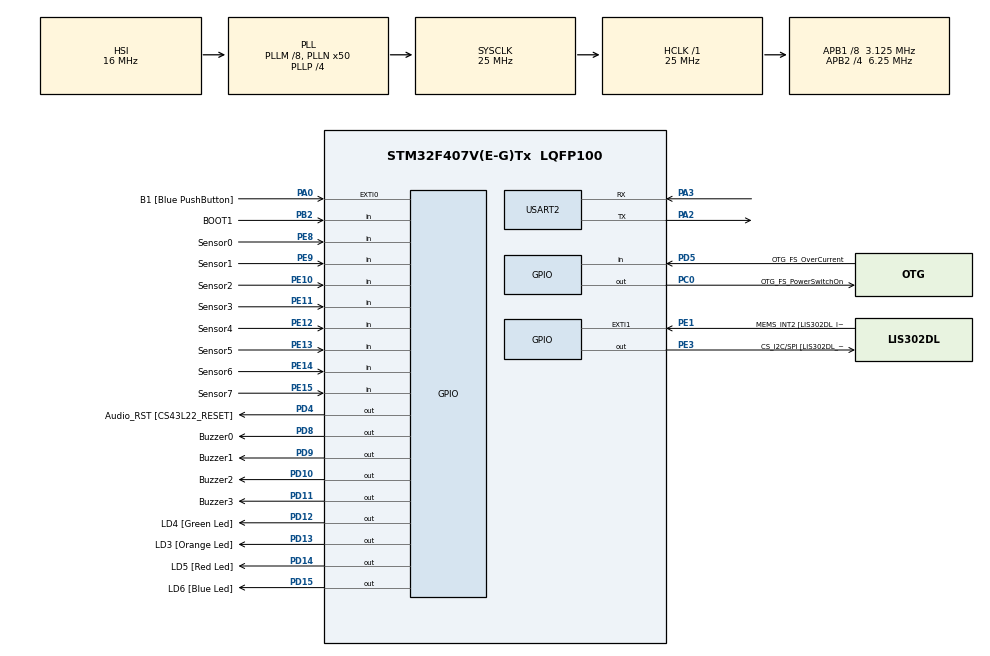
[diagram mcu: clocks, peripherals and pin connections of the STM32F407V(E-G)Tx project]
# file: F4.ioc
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Dma.Request0=USART2_RX
Dma.USART2_RX.0.Direction=DMA_PERIPH_TO_MEMORY
Dma.USART2_RX.0.FIFOMode=DMA_FIFOMODE_DISABLE
Dma.USART2_RX.0.Instance=DMA1_Stream5
Dma.USART2_RX.0.MemDataAlignment=DMA_MDATAALIGN_BYTE
Dma.USART2_RX.0.MemInc=DMA_MINC_ENABLE
Dma.USART2_RX.0.Mode=DMA_CIRCULAR
Dma.USART2_RX.0.PeriphDataAlignment=DMA_PDATAALIGN_BYTE
Dma.USART2_RX.0.PeriphInc=DMA_PINC_DISABLE
Dma.USART2_RX.0.Priority=DMA_PRIORITY_LOW
FREERTOS.Tasks01=revicer,0,128,uartReciveTask,Default,NULL,Dynamic,NULL,NULL
FREERTOS.Timers01=uartSender,senderCallback,osTimerPeriodic,Default,NULL,Dynamic,NULL;buzzerCtrl,buzzerController,osTimerPeriodic,Default,NULL,Dynamic,NULL;refresher,refreshSensor,osTimerPeriodic,Default,NULL,Dynamic,NULL
FREERTOS.configUSE_TIMERS=1
Mcu.Family=STM32F4
Mcu.Name=STM32F407V(E-G)Tx
Mcu.Package=LQFP100
NVIC.DMA1_Stream5_IRQn=true\:5\:0\:false\:false\:true\:true\:false
NVIC.PriorityGroup=NVIC_PRIORITYGROUP_4
NVIC.TIM1_UP_TIM10_IRQn=true\:0\:0\:false\:false\:true\:false\:false
NVIC.TimeBase=TIM1_UP_TIM10_IRQn
NVIC.TimeBaseIP=TIM1
PA0-WKUP.GPIO_Label=B1 [Blue PushButton]
PA0-WKUP.GPIO_ModeDefaultEXTI=GPIO_MODE_EVT_RISING
PA0-WKUP.GPIO_PuPd=GPIO_NOPULL
PA0-WKUP.Signal=GPXTI0
PA10.GPIO_Label=OTG_FS_ID
PA10.GPIO_Mode=GPIO_MODE_AF_PP
PA10.GPIO_PuPd=GPIO_NOPULL
PA10.GPIO_Speed=GPIO_SPEED_FREQ_LOW
PA10.Signal=USB_OTG_FS_ID
PA11.GPIO_Label=OTG_FS_DM
PA11.GPIO_Mode=GPIO_MODE_AF_PP
PA11.GPIO_PuPd=GPIO_NOPULL
PA11.GPIO_Speed=GPIO_SPEED_FREQ_LOW
PA11.Signal=USB_OTG_FS_DM
PA12.GPIO_Label=OTG_FS_DP
PA12.GPIO_Mode=GPIO_MODE_AF_PP
PA12.GPIO_PuPd=GPIO_NOPULL
PA12.GPIO_Speed=GPIO_SPEED_FREQ_LOW
PA12.Signal=USB_OTG_FS_DP
PA13.GPIO_Label=SWDIO
PA13.Signal=SYS_JTMS-SWDIO
PA14.GPIO_Label=SWCLK
PA14.Signal=SYS_JTCK-SWCLK
PA2.Mode=Asynchronous
PA2.Signal=USART2_TX
PA3.Mode=Asynchronous
PA3.Signal=USART2_RX
PA4.GPIO_Label=I2S3_WS [CS43L22_LRCK]
PA4.GPIO_Mode=GPIO_MODE_AF_PP
PA4.GPIO_PuPd=GPIO_NOPULL
PA4.GPIO_Speed=GPIO_SPEED_FREQ_LOW
PA4.Signal=I2S3_WS
PA5.GPIO_Label=SPI1_SCK [LIS302DL_SCL/SPC]
PA5.GPIO_Mode=GPIO_MODE_AF_PP
PA5.GPIO_PuPd=GPIO_NOPULL
PA5.GPIO_Speed=GPIO_SPEED_FREQ_LOW
PA5.Signal=SPI1_SCK
PA6.GPIO_Label=SPI1_MISO [LIS302DL_SDO]
PA6.GPIO_Mode=GPIO_MODE_AF_PP
PA6.GPIO_PuPd=GPIO_NOPULL
PA6.GPIO_Speed=GPIO_SPEED_FREQ_LOW
PA6.Signal=SPI1_MISO
PA7.GPIO_Label=SPI1_MOSI [LIS302DL_SDA/SDI/SDO]
PA7.GPIO_Mode=GPIO_MODE_AF_PP
PA7.GPIO_PuPd=GPIO_NOPULL
PA7.GPIO_Speed=GPIO_SPEED_FREQ_LOW
PA7.Signal=SPI1_MOSI
PA9.GPIO_Label=VBUS_FS
PA9.GPIO_Mode=GPIO_MODE_INPUT
PA9.GPIO_PuPd=GPIO_NOPULL
PA9.Signal=USB_OTG_FS_VBUS
PB10.GPIO_Label=CLK_IN [MP45DT02_CLK]
PB10.GPIO_Mode=GPIO_MODE_AF_PP
PB10.GPIO_PuPd=GPIO_NOPULL
PB10.GPIO_Speed=GPIO_SPEED_FREQ_LOW
PB10.Signal=I2S2_CK
PB2.GPIO_Label=BOOT1
PB2.GPIO_Mode=GPIO_MODE_INPUT
PB2.GPIO_PuPd=GPIO_NOPULL
PB2.Signal=GPIO_Input
PB3.GPIO_Label=SWO
PB3.Signal=SYS_JTDO-SWO
PB6.GPIO_Label=Audio_SCL [CS43L22_SCL]
PB6.GPIO_Mode=GPIO_MODE_AF_OD
PB6.GPIO_PuPd=GPIO_NOPULL
PB6.GPIO_Speed=GPIO_SPEED_FREQ_LOW
PB6.Signal=I2C1_SCL
PB9.GPIO_Label=Audio_SDA [CS43L22_SDA]
PB9.GPIO_Mode=GPIO_MODE_AF_OD
PB9.GPIO_PuPd=GPIO_NOPULL
PB9.GPIO_Speed=GPIO_SPEED_FREQ_LOW
PB9.Signal=I2C1_SDA
PC0.GPIO_Label=OTG_FS_PowerSwitchOn
PC0.GPIO_PuPd=GPIO_NOPULL
PC0.GPIO_Speed=GPIO_SPEED_FREQ_LOW
PC0.PinState=GPIO_PIN_SET
PC0.Signal=GPIO_Output
PC10.GPIO_Label=I2S3_SCK [CS43L22_SCLK]
PC10.GPIO_Mode=GPIO_MODE_AF_PP
PC10.GPIO_PuPd=GPIO_NOPULL
PC10.GPIO_Speed=GPIO_SPEED_FREQ_LOW
PC10.Signal=I2S3_CK
PC12.GPIO_Label=I2S3_SD [CS43L22_SDIN]
PC12.GPIO_Mode=GPIO_MODE_AF_PP
PC12.GPIO_PuPd=GPIO_NOPULL
PC12.GPIO_Speed=GPIO_SPEED_FREQ_LOW
PC12.Signal=I2S3_SD
PC14-OSC32_IN.GPIO_Label=PC14-OSC32_IN
PC14-OSC32_IN.Signal=RCC_OSC32_IN
PC15-OSC32_OUT.GPIO_Label=PC15-OSC32_OUT
PC15-OSC32_OUT.Signal=RCC_OSC32_OUT
PC3.GPIO_Label=PDM_OUT [MP45DT02_DOUT]
PC3.GPIO_Mode=GPIO_MODE_AF_PP
PC3.GPIO_PuPd=GPIO_NOPULL
PC3.GPIO_Speed=GPIO_SPEED_FREQ_LOW
PC3.Signal=I2S2_SD
PC7.GPIO_Label=I2S3_MCK [CS43L22_MCLK]
PC7.GPIO_Mode=GPIO_MODE_AF_PP
PC7.GPIO_PuPd=GPIO_NOPULL
PC7.GPIO_Speed=GPIO_SPEED_FREQ_LOW
PC7.Signal=I2S3_MCK
PD10.GPIO_Label=Buzzer2
PD10.Signal=GPIO_Output
PD11.GPIO_Label=Buzzer3
PD11.Signal=GPIO_Output
PD12.GPIO_Label=LD4 [Green Led]
PD12.GPIO_PuPd=GPIO_NOPULL
PD12.GPIO_Speed=GPIO_SPEED_FREQ_LOW
PD12.Signal=GPIO_Output
PD13.GPIO_Label=LD3 [Orange Led]
PD13.GPIO_PuPd=GPIO_NOPULL
PD13.GPIO_Speed=GPIO_SPEED_FREQ_LOW
PD13.Signal=GPIO_Output
PD14.GPIO_Label=LD5 [Red Led]
PD14.GPIO_PuPd=GPIO_NOPULL
PD14.GPIO_Speed=GPIO_SPEED_FREQ_LOW
PD14.Signal=GPIO_Output
PD15.GPIO_Label=LD6 [Blue Led]
PD15.GPIO_PuPd=GPIO_NOPULL
PD15.GPIO_Speed=GPIO_SPEED_FREQ_LOW
PD15.Signal=GPIO_Output
PD4.GPIO_Label=Audio_RST [CS43L22_RESET]
PD4.GPIO_PuPd=GPIO_NOPULL
PD4.GPIO_Speed=GPIO_SPEED_FREQ_LOW
PD4.Signal=GPIO_Output
PD5.GPIO_Label=OTG_FS_OverCurrent
PD5.GPIO_Mode=GPIO_MODE_INPUT
PD5.GPIO_PuPd=GPIO_NOPULL
PD5.Signal=GPIO_Input
PD8.GPIO_Label=Buzzer0
PD8.Signal=GPIO_Output
PD9.GPIO_Label=Buzzer1
PD9.Signal=GPIO_Output
PE1.GPIO_Label=MEMS_INT2 [LIS302DL_INT2]
PE1.GPIO_ModeDefaultEXTI=GPIO_MODE_EVT_RISING
PE1.GPIO_PuPd=GPIO_NOPULL
PE1.Signal=GPXTI1
PE10.GPIO_Label=Sensor2
PE10.GPIO_PuPd=GPIO_PULLUP
PE10.Signal=GPIO_Input
PE11.GPIO_Label=Sensor3
PE11.GPIO_PuPd=GPIO_PULLUP
PE11.Signal=GPIO_Input
PE12.GPIO_Label=Sensor4
PE12.GPIO_PuPd=GPIO_PULLUP
PE12.Signal=GPIO_Input
PE13.GPIO_Label=Sensor5
PE13.GPIO_PuPd=GPIO_PULLUP
PE13.Signal=GPIO_Input
PE14.GPIO_Label=Sensor6
PE14.GPIO_PuPd=GPIO_PULLUP
PE14.Signal=GPIO_Input
PE15.GPIO_Label=Sensor7
PE15.GPIO_PuPd=GPIO_PULLUP
PE15.Signal=GPIO_Input
PE3.GPIO_Label=CS_I2C/SPI [LIS302DL_CS_I2C/SPI]
PE3.GPIO_PuPd=GPIO_NOPULL
PE3.GPIO_Speed=GPIO_SPEED_FREQ_LOW
PE3.Signal=GPIO_Output
PE8.GPIO_Label=Sensor0
PE8.GPIO_PuPd=GPIO_PULLUP
PE8.Signal=GPIO_Input
PE9.GPIO_Label=Sensor1
PE9.GPIO_PuPd=GPIO_PULLUP
PE9.Signal=GPIO_Input
PH0-OSC_IN.GPIO_Label=PH0-OSC_IN
PH0-OSC_IN.Signal=RCC_OSC_IN
PH1-OSC_OUT.GPIO_Label=PH1-OSC_OUT
PH1-OSC_OUT.Signal=RCC_OSC_OUT
ProjectManager.HeapSize=0x200
ProjectManager.StackSize=0x400
ProjectManager.TargetToolchain=SW4STM32
RCC.48MHZClocksFreq_Value=14285714.285714285
RCC.AHBFreq_Value=25000000
RCC.APB1CLKDivider=RCC_HCLK_DIV8
RCC.APB1Freq_Value=3125000
RCC.APB1TimFreq_Value=6250000
RCC.APB2CLKDivider=RCC_HCLK_DIV4
RCC.APB2Freq_Value=6250000
RCC.APB2TimFreq_Value=12500000
RCC.CortexFreq_Value=25000000
RCC.HCLKFreq_Value=25000000
RCC.HSE_VALUE=8000000
RCC.HSI_VALUE=16000000
RCC.LSE_VALUE=32768
RCC.PLLM=8
RCC.PLLN=50
RCC.PLLP=RCC_PLLP_DIV4
RCC.PLLQ=7
RCC.SYSCLKFreq_VALUE=25000000
RCC.SYSCLKSource=RCC_SYSCLKSOURCE_PLLCLK
RCC.VCOOutputFreq_Value=100000000
USART2.VirtualMode=VM_ASYNC
VP_FREERTOS_VS_ENABLE.Mode=Enabled
VP_SYS_VS_tim1.Mode=TIM1
board=STM32F4DISCOVERY

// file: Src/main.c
/**
  ******************************************************************************
  * @file           : main.c
  * @brief          : Main program body
  ******************************************************************************
  * This notice applies to any and all portions of this file
  * that are not between comment pairs USER CODE BEGIN and
  * USER CODE END. Other portions of this file, whether
  * inserted by the user or by software development tools
  * are owned by their respective copyright owners.
  *
  * Copyright (c) 2561 STMicroelectronics International N.V.
  * All rights reserved.
  *
  * Redistribution and use in source and binary forms, with or without
  * modification, are permitted, provided that the following conditions are met:
  *
  * 1. Redistribution of source code must retain the above copyright notice,
  *    this list of conditions and the following disclaimer.
  * 2. Redistributions in binary form must reproduce the above copyright notice,
  *    this list of conditions and the following disclaimer in the documentation
  *    and/or other materials provided with the distribution.
  * 3. Neither the name of STMicroelectronics nor the names of other
  *    contributors to this software may be used to endorse or promote products
  *    derived from this software without specific written permission.
  * 4. This software, including modifications and/or derivative works of this
  *    software, must execute solely and exclusively on microcontroller or
  *    microprocessor devices manufactured by or for STMicroelectronics.
  * 5. Redistribution and use of this software other than as permitted under
  *    this license is void and will automatically terminate your rights under
  *    this license.
  *
  * THIS SOFTWARE IS PROVIDED BY STMICROELECTRONICS AND CONTRIBUTORS "AS IS"
  * AND ANY EXPRESS, IMPLIED OR STATUTORY WARRANTIES, INCLUDING, BUT NOT
  * LIMITED TO, THE IMPLIED WARRANTIES OF MERCHANTABILITY, FITNESS FOR A
  * PARTICULAR PURPOSE AND NON-INFRINGEMENT OF THIRD PARTY INTELLECTUAL PROPERTY
  * RIGHTS ARE DISCLAIMED TO THE FULLEST EXTENT PERMITTED BY LAW. IN NO EVENT
  * SHALL STMICROELECTRONICS OR CONTRIBUTORS BE LIABLE FOR ANY DIRECT, INDIRECT,
  * INCIDENTAL, SPECIAL, EXEMPLARY, OR CONSEQUENTIAL DAMAGES (INCLUDING, BUT NOT
  * LIMITED TO, PROCUREMENT OF SUBSTITUTE GOODS OR SERVICES; LOSS OF USE, DATA,
  * OR PROFITS; OR BUSINESS INTERRUPTION) HOWEVER CAUSED AND ON ANY THEORY OF
  * LIABILITY, WHETHER IN CONTRACT, STRICT LIABILITY, OR TORT (INCLUDING
  * NEGLIGENCE OR OTHERWISE) ARISING IN ANY WAY OUT OF THE USE OF THIS SOFTWARE,
  * EVEN IF ADVISED OF THE POSSIBILITY OF SUCH DAMAGE.
  *
  ******************************************************************************
  */
#include "main.h"
#include "stm32f4xx_hal.h"
#include "cmsis_os.h"

UART_HandleTypeDef huart2;
DMA_HandleTypeDef hdma_usart2_rx;

osThreadId revicerHandle;
osTimerId uartSenderHandle;
osTimerId buzzerCtrlHandle;
osTimerId refresherHandle;

/* USER CODE BEGIN PV */
/* Private variables ---------------------------------------------------------*/

/* USER CODE END PV */

void SystemClock_Config(void);
static void MX_GPIO_Init(void);
static void MX_DMA_Init(void);
static void MX_USART2_UART_Init(void);
void uartReciveTask(void const * argument);
void senderCallback(void const * argument);
void buzzerController(void const * argument);
void refreshSensor(void const * argument);

/* USER CODE BEGIN PFP */
/* Private function prototypes -----------------------------------------------*/

/* USER CODE END PFP */

/* USER CODE BEGIN 0 */
const int UART_REFRESH_TIME = 750;

char inboundRecive[2];
uint8_t sensorStatus[8];
uint8_t sensorAlarm[8];
int sensornum = 7;
uint8_t tog = 0;
/* USER CODE END 0 */

int main(void)
{

  /* MCU Configuration----------------------------------------------------------*/

  /* Reset of all peripherals, Initializes the Flash interface and the Systick. */
  HAL_Init();

  /* Configure the system clock */
  SystemClock_Config();

  /* Initialize all configured peripherals */
  MX_GPIO_Init();
  MX_DMA_Init();
  MX_USART2_UART_Init();

  /* Create the timer(s) */
  /* definition and creation of uartSender */
  osTimerDef(uartSender, senderCallback);
  uartSenderHandle = osTimerCreate(osTimer(uartSender), osTimerPeriodic, NULL);

  /* definition and creation of buzzerCtrl */
  osTimerDef(buzzerCtrl, buzzerController);
  buzzerCtrlHandle = osTimerCreate(osTimer(buzzerCtrl), osTimerPeriodic, NULL);

  /* definition and creation of refresher */
  osTimerDef(refresher, refreshSensor);
  refresherHandle = osTimerCreate(osTimer(refresher), osTimerPeriodic, NULL);

  /* USER CODE BEGIN RTOS_TIMERS */
  /* start timers, add new ones, ... */
  osTimerStart(buzzerCtrlHandle,500);
   osTimerStart(refresherHandle,500);
   //osTimerStart(UartSenderHandle,1000);
  /* USER CODE END RTOS_TIMERS */

  /* Create the thread(s) */
  /* definition and creation of revicer */
  osThreadDef(revicer, uartReciveTask, osPriorityNormal, 0, 128);
  revicerHandle = osThreadCreate(osThread(revicer), NULL);

  /* Start scheduler */
  osKernelStart();

  /* We should never get here as control is now taken by the scheduler */

  /* Infinite loop */
  while (1)
  {

  }

}

void SystemClock_Config(void)
{

  RCC_OscInitTypeDef RCC_OscInitStruct;
  RCC_ClkInitTypeDef RCC_ClkInitStruct;

    /**Configure the main internal regulator output voltage
    */
  __HAL_RCC_PWR_CLK_ENABLE();

  __HAL_PWR_VOLTAGESCALING_CONFIG(PWR_REGULATOR_VOLTAGE_SCALE1);

    /**Initializes the CPU, AHB and APB busses clocks
    */
  RCC_OscInitStruct.OscillatorType = RCC_OSCILLATORTYPE_HSI;
  RCC_OscInitStruct.HSIState = RCC_HSI_ON;
  RCC_OscInitStruct.HSICalibrationValue = 16;
  RCC_OscInitStruct.PLL.PLLState = RCC_PLL_ON;
  RCC_OscInitStruct.PLL.PLLSource = RCC_PLLSOURCE_HSI;
  RCC_OscInitStruct.PLL.PLLM = 8;
  RCC_OscInitStruct.PLL.PLLN = 50;
  RCC_OscInitStruct.PLL.PLLP = RCC_PLLP_DIV4;
  RCC_OscInitStruct.PLL.PLLQ = 7;
  if (HAL_RCC_OscConfig(&RCC_OscInitStruct) != HAL_OK)
  {
    _Error_Handler(__FILE__, __LINE__);
  }

    /**Initializes the CPU, AHB and APB busses clocks
    */
  RCC_ClkInitStruct.ClockType = RCC_CLOCKTYPE_HCLK|RCC_CLOCKTYPE_SYSCLK
                              |RCC_CLOCKTYPE_PCLK1|RCC_CLOCKTYPE_PCLK2;
  RCC_ClkInitStruct.SYSCLKSource = RCC_SYSCLKSOURCE_PLLCLK;
  RCC_ClkInitStruct.AHBCLKDivider = RCC_SYSCLK_DIV1;
  RCC_ClkInitStruct.APB1CLKDivider = RCC_HCLK_DIV8;
  RCC_ClkInitStruct.APB2CLKDivider = RCC_HCLK_DIV4;

  if (HAL_RCC_ClockConfig(&RCC_ClkInitStruct, FLASH_LATENCY_0) != HAL_OK)
  {
    _Error_Handler(__FILE__, __LINE__);
  }

    /**Configure the Systick interrupt time
    */
  HAL_SYSTICK_Config(HAL_RCC_GetHCLKFreq()/1000);

    /**Configure the Systick
    */
  HAL_SYSTICK_CLKSourceConfig(SYSTICK_CLKSOURCE_HCLK);

  /* SysTick_IRQn interrupt configuration */
  HAL_NVIC_SetPriority(SysTick_IRQn, 15, 0);
}

/* USART2 init function */
static void MX_USART2_UART_Init(void)
{

  huart2.Instance = USART2;
  huart2.Init.BaudRate = 115200;
  huart2.Init.WordLength = UART_WORDLENGTH_8B;
  huart2.Init.StopBits = UART_STOPBITS_1;
  huart2.Init.Parity = UART_PARITY_NONE;
  huart2.Init.Mode = UART_MODE_TX_RX;
  huart2.Init.HwFlowCtl = UART_HWCONTROL_NONE;
  huart2.Init.OverSampling = UART_OVERSAMPLING_16;
  if (HAL_UART_Init(&huart2) != HAL_OK)
  {
    _Error_Handler(__FILE__, __LINE__);
  }

}

static void MX_DMA_Init(void)
{
  /* DMA controller clock enable */
  __HAL_RCC_DMA1_CLK_ENABLE();

  /* DMA interrupt init */
  /* DMA1_Stream5_IRQn interrupt configuration */
  HAL_NVIC_SetPriority(DMA1_Stream5_IRQn, 5, 0);
  HAL_NVIC_EnableIRQ(DMA1_Stream5_IRQn);

}

/** Configure pins as
        * Analog
        * Input
        * Output
        * EVENT_OUT
        * EXTI
     PC3   ------> I2S2_SD
     PA4   ------> I2S3_WS
     PA5   ------> SPI1_SCK
     PA6   ------> SPI1_MISO
     PA7   ------> SPI1_MOSI
     PB10   ------> I2S2_CK
     PC7   ------> I2S3_MCK
     PA9   ------> USB_OTG_FS_VBUS
     PA10   ------> USB_OTG_FS_ID
     PA11   ------> USB_OTG_FS_DM
     PA12   ------> USB_OTG_FS_DP
     PC10   ------> I2S3_CK
     PC12   ------> I2S3_SD
     PB6   ------> I2C1_SCL
     PB9   ------> I2C1_SDA
*/
static void MX_GPIO_Init(void)
{

  GPIO_InitTypeDef GPIO_InitStruct;

  /* GPIO Ports Clock Enable */
  __HAL_RCC_GPIOE_CLK_ENABLE();
  __HAL_RCC_GPIOC_CLK_ENABLE();
  __HAL_RCC_GPIOH_CLK_ENABLE();
  __HAL_RCC_GPIOA_CLK_ENABLE();
  __HAL_RCC_GPIOB_CLK_ENABLE();
  __HAL_RCC_GPIOD_CLK_ENABLE();

  /*Configure GPIO pin Output Level */
  HAL_GPIO_WritePin(CS_I2C_SPI_GPIO_Port, CS_I2C_SPI_Pin, GPIO_PIN_RESET);

  /*Configure GPIO pin Output Level */
  HAL_GPIO_WritePin(OTG_FS_PowerSwitchOn_GPIO_Port, OTG_FS_PowerSwitchOn_Pin, GPIO_PIN_SET);

  /*Configure GPIO pin Output Level */
  HAL_GPIO_WritePin(GPIOD, Buzzer0_Pin|Buzzer1_Pin|Buzzer2_Pin|Buzzer3_Pin
                          |LD4_Pin|LD3_Pin|LD5_Pin|LD6_Pin
                          |Audio_RST_Pin, GPIO_PIN_RESET);

  /*Configure GPIO pin : CS_I2C_SPI_Pin */
  GPIO_InitStruct.Pin = CS_I2C_SPI_Pin;
  GPIO_InitStruct.Mode = GPIO_MODE_OUTPUT_PP;
  GPIO_InitStruct.Pull = GPIO_NOPULL;
  GPIO_InitStruct.Speed = GPIO_SPEED_FREQ_LOW;
  HAL_GPIO_Init(CS_I2C_SPI_GPIO_Port, &GPIO_InitStruct);

  /*Configure GPIO pin : OTG_FS_PowerSwitchOn_Pin */
  GPIO_InitStruct.Pin = OTG_FS_PowerSwitchOn_Pin;
  GPIO_InitStruct.Mode = GPIO_MODE_OUTPUT_PP;
  GPIO_InitStruct.Pull = GPIO_NOPULL;
  GPIO_InitStruct.Speed = GPIO_SPEED_FREQ_LOW;
  HAL_GPIO_Init(OTG_FS_PowerSwitchOn_GPIO_Port, &GPIO_InitStruct);

  /*Configure GPIO pin : PDM_OUT_Pin */
  GPIO_InitStruct.Pin = PDM_OUT_Pin;
  GPIO_InitStruct.Mode = GPIO_MODE_AF_PP;
  GPIO_InitStruct.Pull = GPIO_NOPULL;
  GPIO_InitStruct.Speed = GPIO_SPEED_FREQ_LOW;
  GPIO_InitStruct.Alternate = GPIO_AF5_SPI2;
  HAL_GPIO_Init(PDM_OUT_GPIO_Port, &GPIO_InitStruct);

  /*Configure GPIO pin : B1_Pin */
  GPIO_InitStruct.Pin = B1_Pin;
  GPIO_InitStruct.Mode = GPIO_MODE_EVT_RISING;
  GPIO_InitStruct.Pull = GPIO_NOPULL;
  HAL_GPIO_Init(B1_GPIO_Port, &GPIO_InitStruct);

  /*Configure GPIO pin : I2S3_WS_Pin */
  GPIO_InitStruct.Pin = I2S3_WS_Pin;
  GPIO_InitStruct.Mode = GPIO_MODE_AF_PP;
  GPIO_InitStruct.Pull = GPIO_NOPULL;
  GPIO_InitStruct.Speed = GPIO_SPEED_FREQ_LOW;
  GPIO_InitStruct.Alternate = GPIO_AF6_SPI3;
  HAL_GPIO_Init(I2S3_WS_GPIO_Port, &GPIO_InitStruct);

  /*Configure GPIO pins : SPI1_SCK_Pin SPI1_MISO_Pin SPI1_MOSI_Pin */
  GPIO_InitStruct.Pin = SPI1_SCK_Pin|SPI1_MISO_Pin|SPI1_MOSI_Pin;
  GPIO_InitStruct.Mode = GPIO_MODE_AF_PP;
  GPIO_InitStruct.Pull = GPIO_NOPULL;
  GPIO_InitStruct.Speed = GPIO_SPEED_FREQ_LOW;
  GPIO_InitStruct.Alternate = GPIO_AF5_SPI1;
  HAL_GPIO_Init(GPIOA, &GPIO_InitStruct);

  /*Configure GPIO pin : BOOT1_Pin */
  GPIO_InitStruct.Pin = BOOT1_Pin;
  GPIO_InitStruct.Mode = GPIO_MODE_INPUT;
  GPIO_InitStruct.Pull = GPIO_NOPULL;
  HAL_GPIO_Init(BOOT1_GPIO_Port, &GPIO_InitStruct);

  /*Configure GPIO pins : Sensor0_Pin Sensor1_Pin Sensor2_Pin Sensor3_Pin
                           Sensor4_Pin Sensor5_Pin Sensor6_Pin Sensor7_Pin */
  GPIO_InitStruct.Pin = Sensor0_Pin|Sensor1_Pin|Sensor2_Pin|Sensor3_Pin
                          |Sensor4_Pin|Sensor5_Pin|Sensor6_Pin|Sensor7_Pin;
  GPIO_InitStruct.Mode = GPIO_MODE_INPUT;
  GPIO_InitStruct.Pull = GPIO_PULLUP;
  HAL_GPIO_Init(GPIOE, &GPIO_InitStruct);

  /*Configure GPIO pin : CLK_IN_Pin */
  GPIO_InitStruct.Pin = CLK_IN_Pin;
  GPIO_InitStruct.Mode = GPIO_MODE_AF_PP;
  GPIO_InitStruct.Pull = GPIO_NOPULL;
  GPIO_InitStruct.Speed = GPIO_SPEED_FREQ_LOW;
  GPIO_InitStruct.Alternate = GPIO_AF5_SPI2;
  HAL_GPIO_Init(CLK_IN_GPIO_Port, &GPIO_InitStruct);

  /*Configure GPIO pins : Buzzer0_Pin Buzzer1_Pin Buzzer2_Pin Buzzer3_Pin
                           LD4_Pin LD3_Pin LD5_Pin LD6_Pin
                           Audio_RST_Pin */
  GPIO_InitStruct.Pin = Buzzer0_Pin|Buzzer1_Pin|Buzzer2_Pin|Buzzer3_Pin
                          |LD4_Pin|LD3_Pin|LD5_Pin|LD6_Pin
                          |Audio_RST_Pin;
  GPIO_InitStruct.Mode = GPIO_MODE_OUTPUT_PP;
  GPIO_InitStruct.Pull = GPIO_NOPULL;
  GPIO_InitStruct.Speed = GPIO_SPEED_FREQ_LOW;
  HAL_GPIO_Init(GPIOD, &GPIO_InitStruct);

  /*Configure GPIO pins : I2S3_MCK_Pin I2S3_SCK_Pin I2S3_SD_Pin */
  GPIO_InitStruct.Pin = I2S3_MCK_Pin|I2S3_SCK_Pin|I2S3_SD_Pin;
  GPIO_InitStruct.Mode = GPIO_MODE_AF_PP;
  GPIO_InitStruct.Pull = GPIO_NOPULL;
  GPIO_InitStruct.Speed = GPIO_SPEED_FREQ_LOW;
  GPIO_InitStruct.Alternate = GPIO_AF6_SPI3;
  HAL_GPIO_Init(GPIOC, &GPIO_InitStruct);

  /*Configure GPIO pin : VBUS_FS_Pin */
  GPIO_InitStruct.Pin = VBUS_FS_Pin;
  GPIO_InitStruct.Mode = GPIO_MODE_INPUT;
  GPIO_InitStruct.Pull = GPIO_NOPULL;
  HAL_GPIO_Init(VBUS_FS_GPIO_Port, &GPIO_InitStruct);

  /*Configure GPIO pins : OTG_FS_ID_Pin OTG_FS_DM_Pin OTG_FS_DP_Pin */
  GPIO_InitStruct.Pin = OTG_FS_ID_Pin|OTG_FS_DM_Pin|OTG_FS_DP_Pin;
  GPIO_InitStruct.Mode = GPIO_MODE_AF_PP;
  GPIO_InitStruct.Pull = GPIO_NOPULL;
  GPIO_InitStruct.Speed = GPIO_SPEED_FREQ_LOW;
  GPIO_InitStruct.Alternate = GPIO_AF10_OTG_FS;
  HAL_GPIO_Init(GPIOA, &GPIO_InitStruct);

  /*Configure GPIO pin : OTG_FS_OverCurrent_Pin */
  GPIO_InitStruct.Pin = OTG_FS_OverCurrent_Pin;
  GPIO_InitStruct.Mode = GPIO_MODE_INPUT;
  GPIO_InitStruct.Pull = GPIO_NOPULL;
  HAL_GPIO_Init(OTG_FS_OverCurrent_GPIO_Port, &GPIO_InitStruct);

  /*Configure GPIO pins : Audio_SCL_Pin Audio_SDA_Pin */
  GPIO_InitStruct.Pin = Audio_SCL_Pin|Audio_SDA_Pin;
  GPIO_InitStruct.Mode = GPIO_MODE_AF_OD;
  GPIO_InitStruct.Pull = GPIO_PULLUP;
  GPIO_InitStruct.Speed = GPIO_SPEED_FREQ_LOW;
  GPIO_InitStruct.Alternate = GPIO_AF4_I2C1;
  HAL_GPIO_Init(GPIOB, &GPIO_InitStruct);

  /*Configure GPIO pin : MEMS_INT2_Pin */
  GPIO_InitStruct.Pin = MEMS_INT2_Pin;
  GPIO_InitStruct.Mode = GPIO_MODE_EVT_RISING;
  GPIO_InitStruct.Pull = GPIO_NOPULL;
  HAL_GPIO_Init(MEMS_INT2_GPIO_Port, &GPIO_InitStruct);

}

/* USER CODE BEGIN 4 */
void HAL_UART_RxCpltCallback(UART_HandleTypeDef *huart){
	/*OPCODE:
	 * A: Activate Alarm
	 * D: Deactivate Alarm
	 * NUM: Sensor ID
	 */
	char strOpcode = inboundRecive[0];
	char strNum = inboundRecive[1];
	sensornum = strNum - 48;
	if (strOpcode == 'A'){
		sensorAlarm[sensornum] = 1;
	}
	else if(strOpcode == 'D'){
		sensorAlarm[sensornum] = 0;
	}
	else if(strOpcode == 'S'){
		if(sensornum == 1){
			osTimerStart(uartSenderHandle,UART_REFRESH_TIME);
		}
		if(sensornum == 0){
			osTimerStop(uartSenderHandle);
		}
	}

}
/* USER CODE END 4 */

/* uartReciveTask function */
void uartReciveTask(void const * argument)
{

  /* USER CODE BEGIN 5 */
  /* Infinite loop */
  for(;;)
  {
	  HAL_UART_Receive_DMA(&huart2,inboundRecive,2);
	  osDelay(1);
  }
  /* USER CODE END 5 */
}

/* senderCallback function */
void senderCallback(void const * argument)
{
  /* USER CODE BEGIN senderCallback */
	HAL_UART_Transmit(&huart2,sensorStatus,8,5);
	HAL_GPIO_TogglePin(GPIOD,LD5_Pin);
  /* USER CODE END senderCallback */
}

/* buzzerController function */
void buzzerController(void const * argument)
{
  /* USER CODE BEGIN buzzerController */
	tog = (tog + 1)%2;
	HAL_GPIO_TogglePin(GPIOD,LD3_Pin);
	HAL_GPIO_WritePin(GPIOD,Buzzer0_Pin,sensorAlarm[0]&&tog);
	HAL_GPIO_WritePin(GPIOD,Buzzer1_Pin,sensorAlarm[1]&&tog);
	HAL_GPIO_WritePin(GPIOD,Buzzer2_Pin,sensorAlarm[2]&&tog);
	HAL_GPIO_WritePin(GPIOD,Buzzer3_Pin,sensorAlarm[3]&&tog);
  /* USER CODE END buzzerController */
}

/* refreshSensor function */
void refreshSensor(void const * argument)
{
  /* USER CODE BEGIN refreshSensor */
	sensorStatus[0] = HAL_GPIO_ReadPin(GPIOE,Sensor0_Pin);
	sensorStatus[1] = HAL_GPIO_ReadPin(GPIOE,Sensor1_Pin);
	sensorStatus[2] = HAL_GPIO_ReadPin(GPIOE,Sensor2_Pin);
	sensorStatus[3] = HAL_GPIO_ReadPin(GPIOE,Sensor3_Pin);
	sensorStatus[4] = HAL_GPIO_ReadPin(GPIOE,Sensor4_Pin);
	sensorStatus[5] = HAL_GPIO_ReadPin(GPIOE,Sensor5_Pin);
	sensorStatus[6] = HAL_GPIO_ReadPin(GPIOE,Sensor6_Pin);
	sensorStatus[7] = HAL_GPIO_ReadPin(GPIOE,Sensor7_Pin);
	HAL_GPIO_TogglePin(GPIOE,LD4_Pin);
  /* USER CODE END refreshSensor */
}

void HAL_TIM_PeriodElapsedCallback(TIM_HandleTypeDef *htim)
{
  if (htim->Instance == TIM1) {
    HAL_IncTick();
  }
}

void _Error_Handler(char *file, int line)
{
  while(1)
  {
  }
}

/************************ (C) COPYRIGHT STMicroelectronics *****END OF FILE****/
